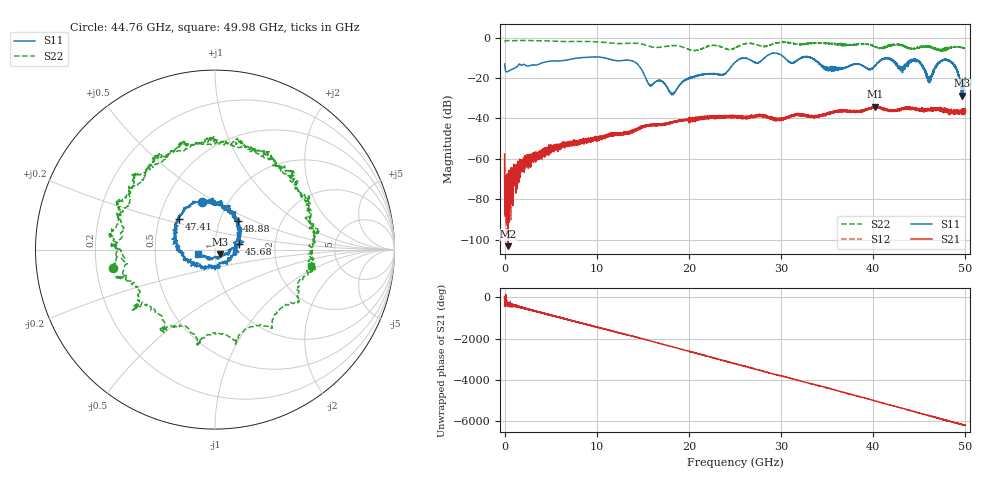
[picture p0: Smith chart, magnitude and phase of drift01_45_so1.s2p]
!Created with skrf (http://scikit-rf.org).
# Hz S RI R 50.0
!freq ReS11 ImS11 ReS21 ImS21 ReS12 ImS12 ReS22 ImS22
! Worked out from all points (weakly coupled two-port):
!   10001 points, 300 kHz to 50 GHz, reference 50 ohm
!   highest |S21| = -34.09 dB at 40.22 GHz (marker M1); lowest = -103.3 dB at 355.3 MHz (marker M2)
!   lowest |S11| = -28.7 dB at 49.6 GHz (marker M3), VSWR 1.08, Z = 52.8 - j2.56 ohm
!   |S11| at or under -10 dB: start of sweep to 8.068 GHz; 10.89 GHz to 25.83 GHz (14.94 GHz wide, 81.4 % of centre); 41.6 GHz to end of sweep (the widest 3 of 20)
!   |S22| runs from -6.8 to -1.4 dB; largest |S21 - S12| = 0.0041
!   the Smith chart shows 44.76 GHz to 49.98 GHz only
!   S11 on the Smith chart (normalised r, x): 44.76 GHz: 0.75, +0.44; 45.68 GHz: 1.31, +0.08; 47.41 GHz: 0.64, +0.23; 48.88 GHz: 1.22, +0.40; 49.98 GHz: 0.83, -0.04
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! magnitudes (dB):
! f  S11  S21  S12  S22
! 300 kHz  -13.0  -57.6  -64.0  -2.1
! 355.3 MHz  -16.7  -103.3  -76.6  -1.4
! 3.16 GHz  -13.5  -58.5  -57.7  -1.4
! 8.335 GHz  -9.9  -51.8  -51.2  -1.8
! 13.78 GHz  -11.4  -46.0  -46.4  -2.8
! 15.74 GHz  -23.5  -43.5  -43.3  -4.3
! 16.67 GHz  -21.2  -43.1  -43.2  -4.8
! 18.24 GHz  -27.5  -41.8  -42.0  -3.9
! 25 GHz  -12.2  -38.6  -39.3  -5.1
! 33.34 GHz  -10.1  -39.0  -39.1  -2.7
! 35.09 GHz  -14.9  -37.7  -37.5  -2.9
! 40.22 GHz  -13.8  -34.1  -34.6  -4.4
! 41.67 GHz  -10.5  -36.1  -36.1  -4.4
! 43.07 GHz  -15.0  -35.6  -35.4  -3.7
! 44.76 GHz  -11.1  -35.4  -35.3  -4.8
! 45.68 GHz  -17.1  -36.1  -35.5  -4.5
! 46.17 GHz  -19.6  -35.2  -35.3  -4.6
! 47.41 GHz  -11.7  -35.1  -35.9  -5.4
! 48.88 GHz  -13.9  -37.2  -37.2  -4.3
! 49.6 GHz  -28.7  -36.8  -36.4  -4.9
! 49.98 GHz  -20.3  -37.5  -36.3  -5.3
! 50 GHz  -20.6  -35.9  -36.7  -5.5
